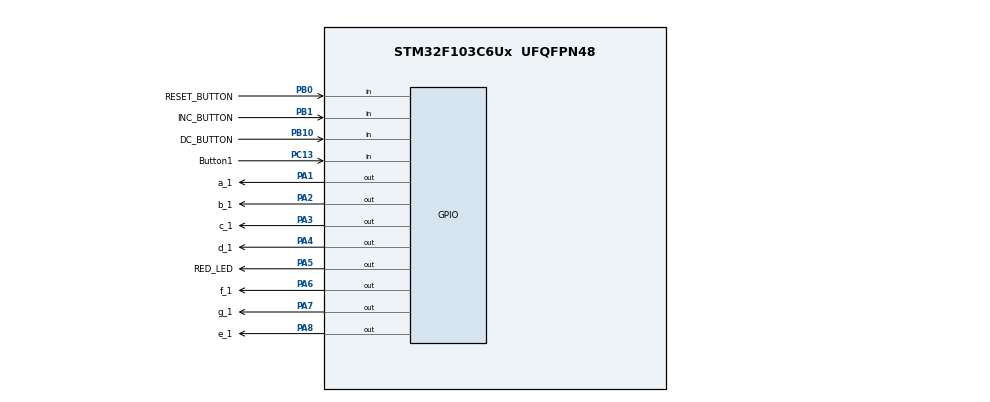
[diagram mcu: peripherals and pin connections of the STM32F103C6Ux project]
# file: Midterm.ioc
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Mcu.Family=STM32F1
Mcu.Name=STM32F103C6Ux
Mcu.Package=UFQFPN48
NVIC.PriorityGroup=NVIC_PRIORITYGROUP_4
NVIC.TIM2_IRQn=true\:0\:0\:false\:false\:true\:true\:true\:true
PA1.GPIO_Label=a_1
PA1.Signal=GPIO_Output
PA2.GPIO_Label=b_1
PA2.Signal=GPIO_Output
PA3.GPIO_Label=c_1
PA3.Signal=GPIO_Output
PA4.GPIO_Label=d_1
PA4.Signal=GPIO_Output
PA5.GPIO_Label=RED_LED
PA5.Signal=GPIO_Output
PA6.GPIO_Label=f_1
PA6.Signal=GPIO_Output
PA7.GPIO_Label=g_1
PA7.Signal=GPIO_Output
PA8.GPIO_Label=e_1
PA8.Signal=GPIO_Output
PB0.GPIO_Label=RESET_BUTTON
PB0.GPIO_PuPd=GPIO_PULLUP
PB0.Signal=GPIO_Input
PB1.GPIO_Label=INC_BUTTON
PB1.GPIO_PuPd=GPIO_PULLUP
PB1.Signal=GPIO_Input
PB10.GPIO_Label=DC_BUTTON
PB10.GPIO_PuPd=GPIO_PULLUP
PB10.Signal=GPIO_Input
PC13-TAMPER-RTC.GPIO_Label=Button1
PC13-TAMPER-RTC.Signal=GPIO_Input
ProjectManager.HeapSize=0x200
ProjectManager.StackSize=0x400
ProjectManager.TargetToolchain=STM32CubeIDE
RCC.APB1Freq_Value=8000000
RCC.APB2Freq_Value=8000000
TIM2.Period=9
TIM2.Prescaler=7999
VP_TIM2_VS_ClockSourceINT.Mode=Internal
board=custom

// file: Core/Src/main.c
/* USER CODE BEGIN Header */
/**
  ******************************************************************************
  * @file           : main.c
  * @brief          : Main program body
  ******************************************************************************
  * @attention
  *
  * Copyright (c) 2022 STMicroelectronics.
  * All rights reserved.
  *
  * This software is licensed under terms that can be found in the LICENSE file
  * in the root directory of this software component.
  * If no LICENSE file comes with this software, it is provided AS-IS.
  *
  ******************************************************************************
  */
/* USER CODE END Header */
#include "main.h"

/* USER CODE BEGIN Includes */
#include "software_timer.h"
#include "button.h"
#include "math.h"
/* USER CODE END Includes */

TIM_HandleTypeDef htim2;

void SystemClock_Config(void);
static void MX_GPIO_Init(void);
static void MX_TIM2_Init(void);

/* USER CODE BEGIN 0 */
void display7SEG (int num, GPIO_TypeDef * GPIO_TYPE, uint16_t a_Pin, uint16_t b_Pin, uint16_t c_Pin, uint16_t d_Pin, uint16_t e_Pin, uint16_t f_Pin, uint16_t g_Pin){
	switch (num){
		case 0:
			HAL_GPIO_WritePin(GPIO_TYPE, a_Pin, RESET);
			HAL_GPIO_WritePin(GPIO_TYPE, b_Pin, RESET);
			HAL_GPIO_WritePin(GPIO_TYPE, c_Pin, RESET);
			HAL_GPIO_WritePin(GPIO_TYPE, d_Pin, RESET);
			HAL_GPIO_WritePin(GPIO_TYPE, e_Pin, RESET);
			HAL_GPIO_WritePin(GPIO_TYPE, f_Pin, RESET);
			HAL_GPIO_WritePin(GPIO_TYPE, g_Pin, SET);
			break;
		case 1:
			HAL_GPIO_WritePin(GPIO_TYPE, a_Pin, SET);
			HAL_GPIO_WritePin(GPIO_TYPE, b_Pin, RESET);
			HAL_GPIO_WritePin(GPIO_TYPE, c_Pin, RESET);
			HAL_GPIO_WritePin(GPIO_TYPE, d_Pin, SET);
			HAL_GPIO_WritePin(GPIO_TYPE, e_Pin, SET);
			HAL_GPIO_WritePin(GPIO_TYPE, f_Pin, SET);
			HAL_GPIO_WritePin(GPIO_TYPE, g_Pin, SET);
			break;
		case 2:
			HAL_GPIO_WritePin(GPIO_TYPE, a_Pin, RESET);
			HAL_GPIO_WritePin(GPIO_TYPE, b_Pin, RESET);
			HAL_GPIO_WritePin(GPIO_TYPE, c_Pin, SET);
			HAL_GPIO_WritePin(GPIO_TYPE, d_Pin, RESET);
			HAL_GPIO_WritePin(GPIO_TYPE, e_Pin, RESET);
			HAL_GPIO_WritePin(GPIO_TYPE, f_Pin, SET);
			HAL_GPIO_WritePin(GPIO_TYPE, g_Pin, RESET);
			break;
		case 3:
			HAL_GPIO_WritePin(GPIO_TYPE, a_Pin, RESET);
			HAL_GPIO_WritePin(GPIO_TYPE, b_Pin, RESET);
			HAL_GPIO_WritePin(GPIO_TYPE, c_Pin, RESET);
			HAL_GPIO_WritePin(GPIO_TYPE, d_Pin, RESET);
			HAL_GPIO_WritePin(GPIO_TYPE, e_Pin, SET);
			HAL_GPIO_WritePin(GPIO_TYPE, f_Pin, SET);
			HAL_GPIO_WritePin(GPIO_TYPE, g_Pin, RESET);
			break;
		case 4:
			HAL_GPIO_WritePin(GPIO_TYPE, a_Pin, SET);
			HAL_GPIO_WritePin(GPIO_TYPE, b_Pin, RESET);
			HAL_GPIO_WritePin(GPIO_TYPE, c_Pin, RESET);
			HAL_GPIO_WritePin(GPIO_TYPE, d_Pin, SET);
			HAL_GPIO_WritePin(GPIO_TYPE, e_Pin, SET);
			HAL_GPIO_WritePin(GPIO_TYPE, f_Pin, RESET);
			HAL_GPIO_WritePin(GPIO_TYPE, g_Pin, RESET);
			break;
		case 5:
			HAL_GPIO_WritePin(GPIO_TYPE, a_Pin, RESET);
			HAL_GPIO_WritePin(GPIO_TYPE, b_Pin, SET);
			HAL_GPIO_WritePin(GPIO_TYPE, c_Pin, RESET);
			HAL_GPIO_WritePin(GPIO_TYPE, d_Pin, RESET);
			HAL_GPIO_WritePin(GPIO_TYPE, e_Pin, SET);
			HAL_GPIO_WritePin(GPIO_TYPE, f_Pin, RESET);
			HAL_GPIO_WritePin(GPIO_TYPE, g_Pin, RESET);
			break;
		case 6:
			HAL_GPIO_WritePin(GPIO_TYPE, a_Pin, RESET);
			HAL_GPIO_WritePin(GPIO_TYPE, b_Pin, SET);
			HAL_GPIO_WritePin(GPIO_TYPE, c_Pin, RESET);
			HAL_GPIO_WritePin(GPIO_TYPE, d_Pin, RESET);
			HAL_GPIO_WritePin(GPIO_TYPE, e_Pin, RESET);
			HAL_GPIO_WritePin(GPIO_TYPE, f_Pin, RESET);
			HAL_GPIO_WritePin(GPIO_TYPE, g_Pin, RESET);
			break;
		case 7:
			HAL_GPIO_WritePin(GPIO_TYPE, a_Pin, RESET);
			HAL_GPIO_WritePin(GPIO_TYPE, b_Pin, RESET);
			HAL_GPIO_WritePin(GPIO_TYPE, c_Pin, RESET);
			HAL_GPIO_WritePin(GPIO_TYPE, d_Pin, SET);
			HAL_GPIO_WritePin(GPIO_TYPE, e_Pin, SET);
			HAL_GPIO_WritePin(GPIO_TYPE, f_Pin, SET);
			HAL_GPIO_WritePin(GPIO_TYPE, g_Pin, SET);
			break;
		case 8:
			HAL_GPIO_WritePin(GPIO_TYPE, a_Pin, RESET);
			HAL_GPIO_WritePin(GPIO_TYPE, b_Pin, RESET);
			HAL_GPIO_WritePin(GPIO_TYPE, c_Pin, RESET);
			HAL_GPIO_WritePin(GPIO_TYPE, d_Pin, RESET);
			HAL_GPIO_WritePin(GPIO_TYPE, e_Pin, RESET);
			HAL_GPIO_WritePin(GPIO_TYPE, f_Pin, RESET);
			HAL_GPIO_WritePin(GPIO_TYPE, g_Pin, RESET);
			break;
		case 9:
			HAL_GPIO_WritePin(GPIO_TYPE, a_Pin, RESET);
			HAL_GPIO_WritePin(GPIO_TYPE, b_Pin, RESET);
			HAL_GPIO_WritePin(GPIO_TYPE, c_Pin, RESET);
			HAL_GPIO_WritePin(GPIO_TYPE, d_Pin, RESET);
			HAL_GPIO_WritePin(GPIO_TYPE, e_Pin, SET);
			HAL_GPIO_WritePin(GPIO_TYPE, f_Pin, RESET);
			HAL_GPIO_WritePin(GPIO_TYPE, g_Pin, RESET);
			break;
		default:
			break;
	}
}
int keyEvent_0 = -1;
int keyEvent_1 = -1;
int keyEvent_2 = -1;

int keyEvent_3 = -1;

int TimerCounter = 300;
int counter = 9;
void fsm_simple_buttons_run() {
	keyEvent_0 = keyEvent_1;
	keyEvent_1 = keyEvent_2;
	keyEvent_2 = getButtonEvent();
	if(keyEvent_0 == keyEvent_1 && keyEvent_1 == keyEvent_2) {
		if(keyEvent_3 != keyEvent_2) {
			keyEvent_3 = keyEvent_2;
			TimerCounter = 300;
			if(keyEvent_2 == 2) {
				counter = 0;
				display7SEG(counter, GPIOA, a_1_Pin, b_1_Pin, c_1_Pin, d_1_Pin, e_1_Pin, f_1_Pin, g_1_Pin);
			}
			if(keyEvent_2 == 1) {
				setTimer4(0);
				setTimer3(1000);
				counter--;
				TimerCounter = 300;
				if (counter < 0) counter = 9;
				display7SEG(counter, GPIOA, a_1_Pin, b_1_Pin, c_1_Pin, d_1_Pin, e_1_Pin, f_1_Pin, g_1_Pin);
			}
			if(keyEvent_2 == 0) {
				setTimer4(0);
				setTimer3(1000);
				counter++;
				TimerCounter = 300;
				if (counter > 9) counter = 0;
				display7SEG(counter, GPIOA, a_1_Pin, b_1_Pin, c_1_Pin, d_1_Pin, e_1_Pin, f_1_Pin, g_1_Pin);
			}
		}
		else {
			TimerCounter--;
			if(TimerCounter <= 0) {
				TimerCounter = 100;
				if(keyEvent_2 == 1) {
					setTimer4(0);
					setTimer3(1000);
					counter--;
					if(counter < 0) counter = 9;
					display7SEG(counter, GPIOA, a_1_Pin, b_1_Pin, c_1_Pin, d_1_Pin, e_1_Pin, f_1_Pin, g_1_Pin);
				}
				if(keyEvent_2 == 0) {
					setTimer4(0);
					setTimer3(1000);
					counter++;
					if(counter > 9) counter = 0;
					display7SEG(counter, GPIOA, a_1_Pin, b_1_Pin, c_1_Pin, d_1_Pin, e_1_Pin, f_1_Pin, g_1_Pin);
				}
			}
		}
	}
}
//void fsm_simple_buttons_run() {
//	keyEvent_0 = keyEvent_1;
//	keyEvent_1 = keyEvent_2;
//	keyEvent_2 = getButtonEvent();
//	if(keyEvent_0 == keyEvent_1 && keyEvent_1 == keyEvent_2) {
//		if(keyEvent_3 != keyEvent_2) {
//			keyEvent_3 = keyEvent_2;
//			TimerCounter = 300;
//			if(keyEvent_2 == 2) {
//				counter = 0;
//				display7SEG(counter, GPIOA, a_1_Pin, b_1_Pin, c_1_Pin, d_1_Pin, e_1_Pin, f_1_Pin, g_1_Pin);
//			}
//			if(keyEvent_2 == 1) {
//				counter--;
//				TimerCounter = 300;
//				if (counter < 0) counter = 9;
//				display7SEG(counter, GPIOA, a_1_Pin, b_1_Pin, c_1_Pin, d_1_Pin, e_1_Pin, f_1_Pin, g_1_Pin);
//			}
//			if(keyEvent_2 == 0) {
//				counter++;
//				TimerCounter = 300;
//				if (counter > 9) counter = 0;
//				display7SEG(counter, GPIOA, a_1_Pin, b_1_Pin, c_1_Pin, d_1_Pin, e_1_Pin, f_1_Pin, g_1_Pin);
//			}
//		}
//	}
//}
/* USER CODE END 0 */

int main(void)
{

  /* MCU Configuration--------------------------------------------------------*/

  /* Reset of all peripherals, Initializes the Flash interface and the Systick. */
  HAL_Init();

  /* Configure the system clock */
  SystemClock_Config();

  /* Initialize all configured peripherals */
  MX_GPIO_Init();
  MX_TIM2_Init();
  /* USER CODE BEGIN 2 */
  HAL_TIM_Base_Start_IT(& htim2 );
  /* USER CODE END 2 */

  /* Infinite loop */
  /* USER CODE BEGIN WHILE */
  display7SEG(counter, GPIOA, a_1_Pin, b_1_Pin, c_1_Pin, d_1_Pin, e_1_Pin, f_1_Pin, g_1_Pin);
  setTimer1(100);
  setTimer2(1);
  setTimer3(1000);
  while (1)
  {
	  if(timer2_flag == 1) {
		  setTimer2(1);
		  fsm_simple_buttons_run();
	  }
	  if(timer1_flag == 1) {
		  setTimer1(100);
		  HAL_GPIO_TogglePin(RED_LED_GPIO_Port, RED_LED_Pin);
	  }
	  if(timer3_flag == 1) {
		  setTimer3(0);
		  setTimer4(100);
	  }
	  if(timer4_flag == 1) {
		  setTimer4(100);
		  counter--;
		  if(counter <= 0) setTimer4(0);
		  display7SEG(counter, GPIOA, a_1_Pin, b_1_Pin, c_1_Pin, d_1_Pin, e_1_Pin, f_1_Pin, g_1_Pin);
	  }

    /* USER CODE END WHILE */

  }
}

void SystemClock_Config(void)
{
  RCC_OscInitTypeDef RCC_OscInitStruct = {0};
  RCC_ClkInitTypeDef RCC_ClkInitStruct = {0};

  /** Initializes the RCC Oscillators according to the specified parameters
  * in the RCC_OscInitTypeDef structure.
  */
  RCC_OscInitStruct.OscillatorType = RCC_OSCILLATORTYPE_HSI;
  RCC_OscInitStruct.HSIState = RCC_HSI_ON;
  RCC_OscInitStruct.HSICalibrationValue = RCC_HSICALIBRATION_DEFAULT;
  RCC_OscInitStruct.PLL.PLLState = RCC_PLL_NONE;
  if (HAL_RCC_OscConfig(&RCC_OscInitStruct) != HAL_OK)
  {
    Error_Handler();
  }

  /** Initializes the CPU, AHB and APB buses clocks
  */
  RCC_ClkInitStruct.ClockType = RCC_CLOCKTYPE_HCLK|RCC_CLOCKTYPE_SYSCLK
                              |RCC_CLOCKTYPE_PCLK1|RCC_CLOCKTYPE_PCLK2;
  RCC_ClkInitStruct.SYSCLKSource = RCC_SYSCLKSOURCE_HSI;
  RCC_ClkInitStruct.AHBCLKDivider = RCC_SYSCLK_DIV1;
  RCC_ClkInitStruct.APB1CLKDivider = RCC_HCLK_DIV1;
  RCC_ClkInitStruct.APB2CLKDivider = RCC_HCLK_DIV1;

  if (HAL_RCC_ClockConfig(&RCC_ClkInitStruct, FLASH_LATENCY_0) != HAL_OK)
  {
    Error_Handler();
  }
}

static void MX_TIM2_Init(void)
{

  TIM_ClockConfigTypeDef sClockSourceConfig = {0};
  TIM_MasterConfigTypeDef sMasterConfig = {0};

  htim2.Instance = TIM2;
  htim2.Init.Prescaler = 7999;
  htim2.Init.CounterMode = TIM_COUNTERMODE_UP;
  htim2.Init.Period = 9;
  htim2.Init.ClockDivision = TIM_CLOCKDIVISION_DIV1;
  htim2.Init.AutoReloadPreload = TIM_AUTORELOAD_PRELOAD_DISABLE;
  if (HAL_TIM_Base_Init(&htim2) != HAL_OK)
  {
    Error_Handler();
  }
  sClockSourceConfig.ClockSource = TIM_CLOCKSOURCE_INTERNAL;
  if (HAL_TIM_ConfigClockSource(&htim2, &sClockSourceConfig) != HAL_OK)
  {
    Error_Handler();
  }
  sMasterConfig.MasterOutputTrigger = TIM_TRGO_RESET;
  sMasterConfig.MasterSlaveMode = TIM_MASTERSLAVEMODE_DISABLE;
  if (HAL_TIMEx_MasterConfigSynchronization(&htim2, &sMasterConfig) != HAL_OK)
  {
    Error_Handler();
  }

}

static void MX_GPIO_Init(void)
{
  GPIO_InitTypeDef GPIO_InitStruct = {0};

  /* GPIO Ports Clock Enable */
  __HAL_RCC_GPIOC_CLK_ENABLE();
  __HAL_RCC_GPIOA_CLK_ENABLE();
  __HAL_RCC_GPIOB_CLK_ENABLE();

  /*Configure GPIO pin Output Level */
  HAL_GPIO_WritePin(GPIOA, a_1_Pin|b_1_Pin|c_1_Pin|d_1_Pin
                          |RED_LED_Pin|f_1_Pin|g_1_Pin|e_1_Pin, GPIO_PIN_RESET);

  /*Configure GPIO pin : Button1_Pin */
  GPIO_InitStruct.Pin = Button1_Pin;
  GPIO_InitStruct.Mode = GPIO_MODE_INPUT;
  GPIO_InitStruct.Pull = GPIO_NOPULL;
  HAL_GPIO_Init(Button1_GPIO_Port, &GPIO_InitStruct);

  /*Configure GPIO pins : a_1_Pin b_1_Pin c_1_Pin d_1_Pin
                           RED_LED_Pin f_1_Pin g_1_Pin e_1_Pin */
  GPIO_InitStruct.Pin = a_1_Pin|b_1_Pin|c_1_Pin|d_1_Pin
                          |RED_LED_Pin|f_1_Pin|g_1_Pin|e_1_Pin;
  GPIO_InitStruct.Mode = GPIO_MODE_OUTPUT_PP;
  GPIO_InitStruct.Pull = GPIO_NOPULL;
  GPIO_InitStruct.Speed = GPIO_SPEED_FREQ_LOW;
  HAL_GPIO_Init(GPIOA, &GPIO_InitStruct);

  /*Configure GPIO pins : RESET_BUTTON_Pin INC_BUTTON_Pin DC_BUTTON_Pin */
  GPIO_InitStruct.Pin = RESET_BUTTON_Pin|INC_BUTTON_Pin|DC_BUTTON_Pin;
  GPIO_InitStruct.Mode = GPIO_MODE_INPUT;
  GPIO_InitStruct.Pull = GPIO_PULLUP;
  HAL_GPIO_Init(GPIOB, &GPIO_InitStruct);

}

/* USER CODE BEGIN 4 */
void HAL_TIM_PeriodElapsedCallback(TIM_HandleTypeDef *htim) {
	timerRun();
}
/* USER CODE END 4 */

void Error_Handler(void)
{
  __disable_irq();
  while (1)
  {
  }
}
